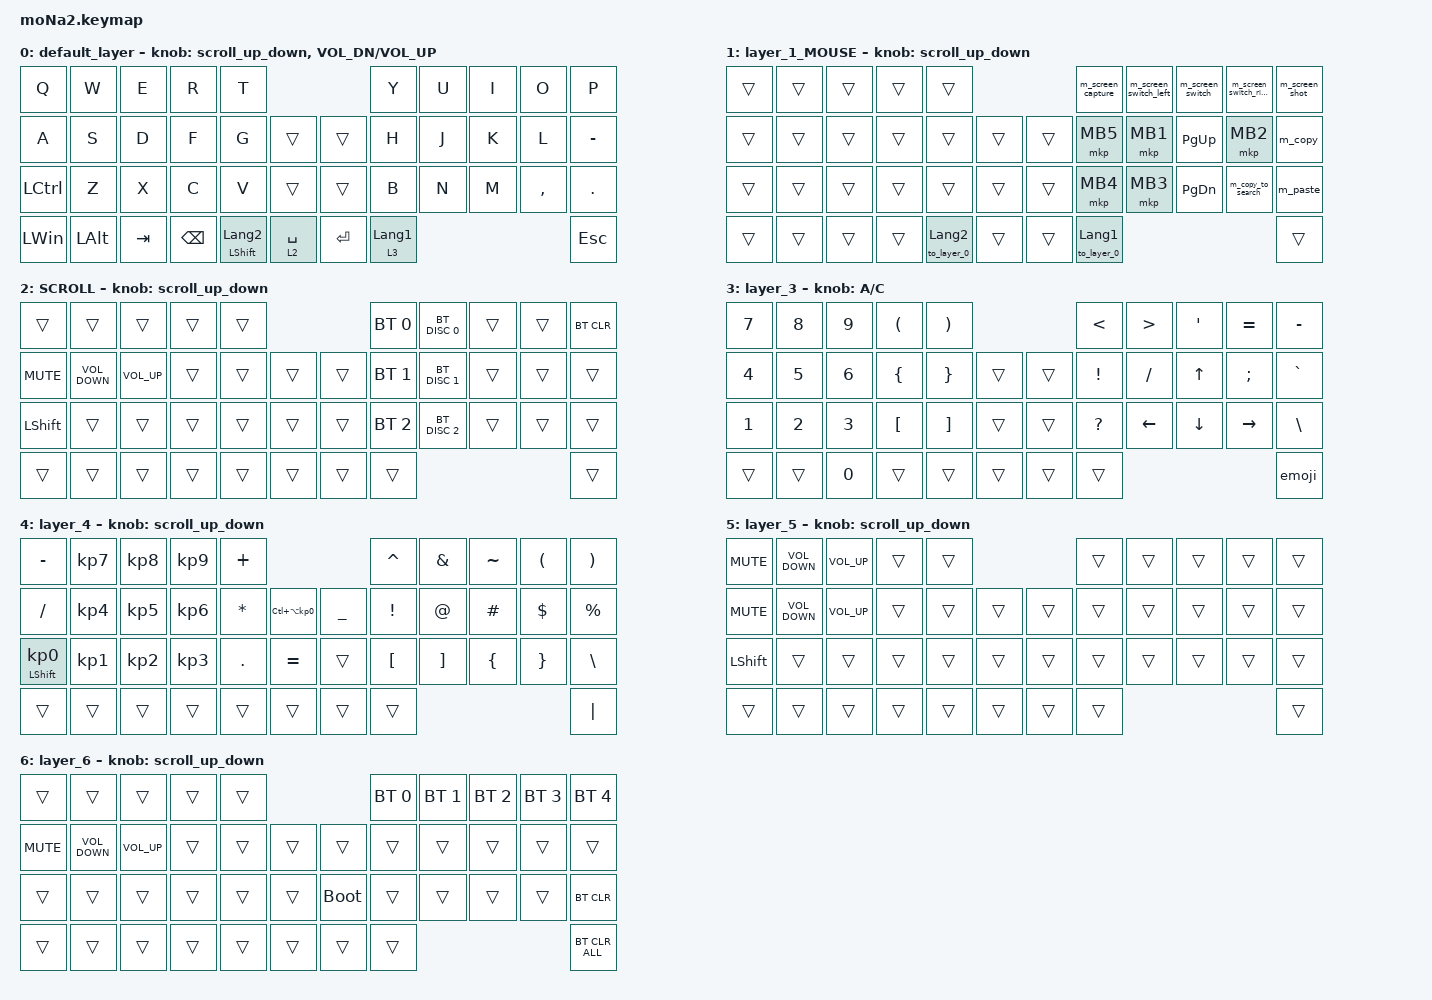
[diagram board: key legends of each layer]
#include <behaviors.dtsi>
#include <dt-bindings/zmk/bt.h>
#include <dt-bindings/zmk/keys.h>
#include <dt-bindings/zmk/pointing.h>

#define ZMK_POINTING_DEFAULT_SCRL_VAL 100
#define MOUSE 6

&mt {
    flavor = "balanced";
    quick-tap-ms = <0>;
    tapping-term-ms = <200>;
};

&lt {
    flavor = "balanced";
    quick-tap-ms = <0>;
    tapping-term-ms = <200>;
};

/ {
    combos { compatible = "zmk,combos"; };

    macros {
        to_layer_0: to_layer_0 {
            compatible = "zmk,behavior-macro-one-param";
            #binding-cells = <1>;
            bindings = <&to 0 &macro_param_1to1 &kp MACRO_PLACEHOLDER>;
            label = "TO_LAYER_0";
        };

        m_copy: m_copy {
            compatible = "zmk,behavior-macro";
            #binding-cells = <0>;
            bindings =
                <&macro_press>,
                <&kp LEFT_WIN>,
                <&macro_tap>,
                <&kp C>,
                <&macro_release>,
                <&kp LEFT_WIN>;

            label = "M_COPY";
        };

        m_paste: m_paste {
            compatible = "zmk,behavior-macro";
            #binding-cells = <0>;
            bindings =
                <&macro_press>,
                <&kp LEFT_WIN>,
                <&macro_tap>,
                <&kp V>,
                <&macro_release>,
                <&kp LEFT_WIN>,
                <&macro_press>;

            label = "M_PASTE";
        };

        m_copy_to_search: m_copy_to_search {
            compatible = "zmk,behavior-macro";
            #binding-cells = <0>;
            bindings =
                <&macro_press>,
                <&kp LEFT_WIN>,
                <&macro_tap>,
                <&kp C>,
                <&macro_tap>,
                <&kp T>,
                <&macro_tap>,
                <&kp V>,
                <&macro_release>,
                <&kp LEFT_WIN>,
                <&macro_tap>,
                <&kp SPACE>,
                <&macro_wait_time 500>,
                <&kp BACKSPACE>,
                <&macro_wait_time 500>,
                <&kp ENTER>;

            label = "M_COPY_TO_SEARCH";
        };

        m_screen_switch_left: m_screen_switch_left {
            compatible = "zmk,behavior-macro";
            #binding-cells = <0>;
            bindings =
                <&macro_press>,
                <&kp LCTRL>,
                <&macro_tap>,
                <&kp LEFT>,
                <&macro_release>,
                <&kp LCTRL>;

            label = "M_SCREEN_SWITCH_LEFT";
        };

        m_screen_switch_right: m_screen_switch_right {
            compatible = "zmk,behavior-macro";
            #binding-cells = <0>;
            bindings =
                <&macro_press>,
                <&kp LCTRL>,
                <&macro_tap>,
                <&kp RIGHT>,
                <&macro_release>,
                <&kp LCTRL>;

            label = "M_SCREEN_SWITCH_RIGHT";
        };

        m_screen_switch: m_screen_switch {
            compatible = "zmk,behavior-macro";
            #binding-cells = <0>;
            bindings =
                <&macro_press>,
                <&kp LCTRL>,
                <&macro_tap>,
                <&kp UP_ARROW>,
                <&macro_release>,
                <&kp LCTRL>;

            label = "M_SCREEN_SWITCH";
        };

        m_screen_shot: m_screen_shot {
            compatible = "zmk,behavior-macro";
            #binding-cells = <0>;
            bindings =
                <&macro_press>,
                <&kp LEFT_WIN &kp LEFT_SHIFT &kp LCTRL>,
                <&macro_tap>,
                <&kp NUMBER_4>,
                <&macro_release>,
                <&kp LEFT_WIN &kp LEFT_SHIFT &kp LCTRL>;

            label = "M_SCREEN_SHOT";
        };

        m_screen_capture: m_screen_capture {
            compatible = "zmk,behavior-macro";
            #binding-cells = <0>;
            bindings =
                <&macro_press>,
                <&kp LEFT_WIN &kp LEFT_SHIFT>,
                <&macro_tap>,
                <&kp N5>,
                <&macro_release>,
                <&kp LEFT_WIN &kp LEFT_SHIFT>;

            label = "M_SCREEN_CAPTURE";
        };

        emoji: emoji {
            compatible = "zmk,behavior-macro";
            #binding-cells = <0>;
            bindings =
                <&macro_press>,
                <&kp LEFT_WIN &kp LCTRL>,
                <&macro_tap>,
                <&kp SPACE>,
                <&macro_release>,
                <&kp LEFT_WIN &kp LCTRL>;

            label = "EMOJI";
        };
    };

    behaviors {
        lt_to_layer_0: lt_to_layer_0 {
            compatible = "zmk,behavior-hold-tap";
            label = "LAYER_TAP_TO_0";
            bindings = <&mo>, <&to_layer_0>;

            #binding-cells = <2>;
            tapping-term-ms = <200>;
        };

        scroll_up_down: mouse_wheel_up_down {
            compatible = "zmk,behavior-sensor-rotate";
            #sensor-binding-cells = <0>;
            bindings = <&msc SCRL_DOWN>, <&msc SCRL_UP>;

            tap-ms = <20>;
        };
    };

    keymap {
        compatible = "zmk,keymap";

        default_layer {
            bindings = <
&kp Q         &kp W         &kp E    &kp R          &kp T                                                &kp Y                        &kp U  &kp I  &kp O      &kp P
&kp A         &kp S         &kp D    &kp F          &kp G                      &trans         &trans     &kp H                        &kp J  &kp K  &kp L      &kp MINUS
&kp LCTRL     &kp Z         &kp X    &kp C          &kp V                      &trans         &trans     &kp B                        &kp N  &kp M  &kp COMMA  &kp PERIOD
&kp LEFT_WIN  &kp LEFT_ALT  &kp TAB  &kp BACKSPACE  &mt LEFT_SHIFT LANGUAGE_2  &lt 2 SPACE    &kp ENTER  &lt_to_layer_0 3 LANGUAGE_1                           &kp ESC
            >;

            sensor-bindings =
                <&scroll_up_down>,
                <&inc_dec_kp C_VOL_DN C_VOL_UP>;
        };

        layer_1_MOUSE {
            bindings = <
&trans  &trans  &trans  &trans  &trans                                    &m_screen_capture       &m_screen_switch_left  &m_screen_switch  &m_screen_switch_right  &m_screen_shot
&trans  &trans  &trans  &trans  &trans                  &trans    &trans  &mkp MB5                &mkp MB1               &kp PAGE_UP       &mkp MB2                &m_copy
&trans  &trans  &trans  &trans  &trans                  &trans    &trans  &mkp MB4                &mkp MB3               &kp PAGE_DOWN     &m_copy_to_search       &m_paste
&trans  &trans  &trans  &trans  &to_layer_0 LANGUAGE_2  &trans    &trans  &to_layer_0 LANGUAGE_1                                                                   &trans
            >;

            sensor-bindings = <&scroll_up_down>;
        };

        SCROLL {
            bindings = <
&trans          &trans             &trans           &trans  &trans                    &bt BT_SEL 0  &bt BT_DISC 0  &trans  &trans  &bt BT_CLR
&kp K_MUTE      &kp C_VOLUME_DOWN  &kp C_VOLUME_UP  &trans  &trans  &trans    &trans  &bt BT_SEL 1  &bt BT_DISC 1  &trans  &trans  &trans
&kp LEFT_SHIFT  &trans             &trans           &trans  &trans  &trans    &trans  &bt BT_SEL 2  &bt BT_DISC 2  &trans  &trans  &trans
&trans          &trans             &trans           &trans  &trans  &trans    &trans  &trans                                       &trans
            >;

            sensor-bindings = <&scroll_up_down>;
        };

        layer_3 {
            bindings = <
&kp NUMBER_7  &kp NUMBER_8  &kp NUMBER_9  &kp LEFT_PARENTHESIS  &kp RIGHT_PARENTHESIS                    &kp LESS_THAN    &kp GREATER_THAN  &kp SINGLE_QUOTE  &kp EQUAL        &kp MINUS
&kp NUMBER_4  &kp NUMBER_5  &kp NUMBER_6  &kp LEFT_BRACE        &kp RIGHT_BRACE        &trans    &trans  &kp EXCLAMATION  &kp SLASH         &kp UP_ARROW      &kp SEMICOLON    &kp GRAVE
&kp NUMBER_1  &kp NUMBER_2  &kp NUMBER_3  &kp LEFT_BRACKET      &kp RIGHT_BRACKET      &trans    &trans  &kp QUESTION     &kp LEFT_ARROW    &kp DOWN_ARROW    &kp RIGHT_ARROW  &kp BACKSLASH
&trans        &trans        &kp NUMBER_0  &trans                &trans                 &trans    &trans  &trans                                                                &emoji
            >;

            sensor-bindings = <&inc_dec_kp A C>;
        };

        layer_4 {
            bindings = <
&kp MINUS                   &kp KP_NUMBER_7  &kp KP_NUMBER_8  &kp KP_NUMBER_9  &kp PLUS                                                 &kp CARET         &kp AMPERSAND      &kp TILDE       &kp LEFT_PARENTHESIS  &kp RIGHT_PARENTHESIS
&kp SLASH                   &kp KP_NUMBER_4  &kp KP_NUMBER_5  &kp KP_NUMBER_6  &kp ASTERISK  &kp LC(LA(KP_NUMBER_0))    &kp UNDERSCORE  &kp EXCLAMATION   &kp AT_SIGN        &kp HASH        &kp DOLLAR            &kp PERCENT
&mt LEFT_SHIFT KP_NUMBER_0  &kp KP_NUMBER_1  &kp KP_NUMBER_2  &kp KP_NUMBER_3  &kp PERIOD    &kp EQUAL                  &trans          &kp LEFT_BRACKET  &kp RIGHT_BRACKET  &kp LEFT_BRACE  &kp RIGHT_BRACE       &kp BACKSLASH
&trans                      &trans           &trans           &trans           &trans        &trans                     &trans          &trans                                                                     &kp PIPE
            >;

            sensor-bindings = <&scroll_up_down>;
        };

        layer_5 {
            bindings = <
&kp K_MUTE      &kp C_VOLUME_DOWN  &kp C_VOLUME_UP  &trans  &trans                    &trans  &trans  &trans  &trans  &trans
&kp K_MUTE      &kp C_VOLUME_DOWN  &kp C_VOLUME_UP  &trans  &trans  &trans    &trans  &trans  &trans  &trans  &trans  &trans
&kp LEFT_SHIFT  &trans             &trans           &trans  &trans  &trans    &trans  &trans  &trans  &trans  &trans  &trans
&trans          &trans             &trans           &trans  &trans  &trans    &trans  &trans                          &trans
            >;

            sensor-bindings = <&scroll_up_down>;
        };

        layer_6 {
            bindings = <
&trans      &trans             &trans           &trans  &trans                         &bt BT_SEL 0  &bt BT_SEL 1  &bt BT_SEL 2  &bt BT_SEL 3  &bt BT_SEL 4
&kp K_MUTE  &kp C_VOLUME_DOWN  &kp C_VOLUME_UP  &trans  &trans  &trans    &trans       &trans        &trans        &trans        &trans        &trans
&trans      &trans             &trans           &trans  &trans  &trans    &bootloader  &trans        &trans        &trans        &trans        &bt BT_CLR
&trans      &trans             &trans           &trans  &trans  &trans    &trans       &trans                                                  &bt BT_CLR_ALL
            >;

            sensor-bindings = <&scroll_up_down>;
        };
    };
};
